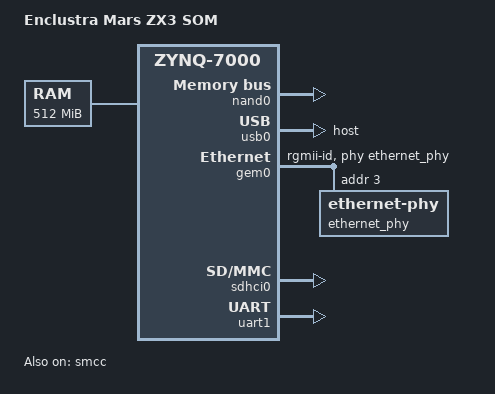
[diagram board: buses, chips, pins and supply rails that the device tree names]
/*
 *  Copyright (C) 2011 - 2014 Xilinx
 *  Copyright (C) 2012 National Instruments Corp.
 *
 * This software is licensed under the terms of the GNU General Public
 * License version 2, as published by the Free Software Foundation, and
 * may be copied, distributed, and modified under those terms.
 *
 * This program is distributed in the hope that it will be useful,
 * but WITHOUT ANY WARRANTY; without even the implied warranty of
 * MERCHANTABILITY or FITNESS FOR A PARTICULAR PURPOSE.  See the
 * GNU General Public License for more details.
 */
/dts-v1/;
/include/ "zynq-7000.dtsi"

/ {
	model = "Enclustra Mars ZX3 SOM";
	compatible = "xlnx,zynq-7000";

	aliases {
		ethernet0 = &gem0;
		serial0 = &uart1;
		spi0 = &qspi;
	};

	memory {
		device_type = "memory";
		reg = <0x0 0x20000000>;
	};

	chosen {
		bootargs = "console=ttyPS0,115200 root=/dev/mtdblock3 rw rootfstype=jffs2 earlyprintk";
		linux,stdout-path = "/amba/serial@e0001000";
	};
};

&smcc {
	status = "okay";
	arm,addr25 = <0x0>;
	arm,nor-chip-sel0 = <0x0>;
	arm,nor-chip-sel1 = <0x0>;
	arm,sram-chip-sel0 = <0x0>;
	arm,sram-chip-sel1 = <0x0>;
};

&nand0 {
	status = "okay";
	arm,nand-cycle-t0 = <0x4>;
	arm,nand-cycle-t1 = <0x4>;
	arm,nand-cycle-t2 = <0x1>;
	arm,nand-cycle-t3 = <0x2>;
	arm,nand-cycle-t4 = <0x2>;
	arm,nand-cycle-t5 = <0x2>;
	arm,nand-cycle-t6 = <0x4>;

	partition@nand-linux {
		label = "nand-linux";
		reg = <0x0 0x500000>;
	};
	partition@nand-device-tree {
		label = "nand-device-tree";
		reg = <0x500000 0x100000>;
	};
	partition@nand-bootscript {
		label = "nand-bootscript";
		reg = <0x600000 0x100000>;
	};
	partition@nand-rootfs {
		label = "nand-rootfs";
		reg = <0x700000 0x1f900000>;
	};
};

&usb0 {
	status = "okay";
	dr_mode = "host";
	phy_type = "ulpi";
};

&gem0 {
	status = "okay";
	phy-mode = "rgmii-id";
	phy-handle = <&ethernet_phy>;

	ethernet_phy: ethernet-phy@3 {
		reg = <3>;
	};
};

&sdhci0 {
	status = "okay";
	broken-cd = <0x1>;
	wp-inverted = <0x1>;
};

&uart1 {
	status = "okay";
};
